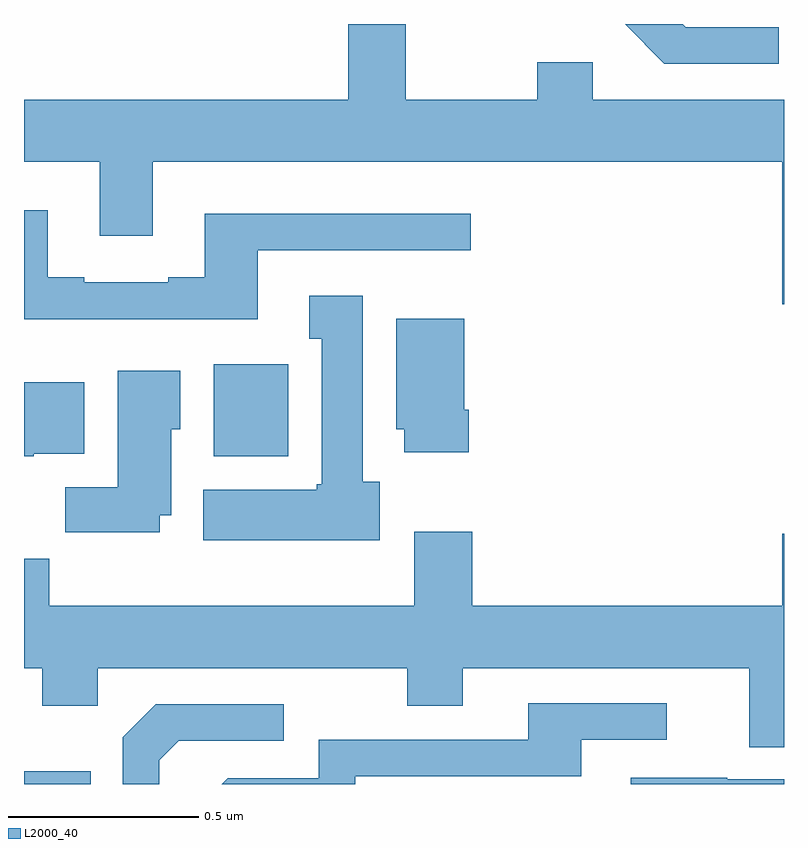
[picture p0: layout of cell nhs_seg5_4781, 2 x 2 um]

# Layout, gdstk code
import gdstk
lib = gdstk.Library(unit=1e-6, precision=1e-09)
def R(c, l, rs):  # rectangles x0, y0, x1, y1
    for r in rs: c.add(gdstk.rectangle(r[:2], r[2:], *l))
def P(c, l, *ps):  # polygons
    for p in ps: c.add(gdstk.Polygon(p, *l))
L2000_40 = (2000, 40)

nhs_seg5_4781 = lib.new_cell('nhs_seg5_4781')
R(nhs_seg5_4781, L2000_40, [(175,845.799,175.175,845.833), (175.499,846.662,175.696,846.904)])
P(nhs_seg5_4781, L2000_40, [(177,847.6),(176.497,847.6),(176.497,847.699),(176.35,847.699),(176.35,847.6),(176.005,847.6),(176.005,847.799),(175.853,847.799),(175.853,847.6),(175,847.6),(175,847.436),(175.199,847.436),(175.199,847.242),(175.339,847.242),(175.339,847.436),(176.996,847.436),(176.996,847.062),(177,847.062)],
  [(176.986,847.791),(176.742,847.791),(176.734,847.799),(176.582,847.799),(176.685,847.695),(176.986,847.695)],
  [(175.615,847.203),(176.176,847.203),(176.176,847.3),(175.475,847.3),(175.475,847.132),(175.379,847.132),(175.379,847.119),(175.159,847.119),(175.159,847.132),(175.063,847.132),(175.063,847.309),(175,847.309),(175,847.022),(175.615,847.022)],
  [(175.936,846.594),(175.891,846.594),(175.891,847.084),(175.751,847.084),(175.751,846.971),(175.784,846.971),(175.784,846.588),(175.771,846.588),(175.771,846.574),(175.472,846.574),(175.472,846.44),(175.936,846.44)],
  [(176.171,846.784),(176.158,846.784),(176.158,847.024),(175.979,847.024),(175.979,846.732),(176,846.732),(176,846.672),(176.171,846.672)],
  [(175.357,846.506),(175.387,846.506),(175.387,846.732),(175.411,846.732),(175.411,846.886),(175.247,846.886),(175.247,846.58),(175.108,846.58),(175.108,846.462),(175.357,846.462)],
  [(175.026,846.668),(175.159,846.668),(175.159,846.856),(175,846.856),(175,846.662),(175.026,846.662)],
  [(175,846.104),(175.048,846.104),(175.048,846.005),(175.194,846.005),(175.194,846.104),(176.008,846.104),(176.008,846.005),(176.155,846.005),(176.155,846.104),(176.909,846.104),(176.909,845.896),(177,845.896),(177,846.457),(176.996,846.457),(176.996,846.268),(176.18,846.268),(176.18,846.463),(176.027,846.463),(176.027,846.268),(175.067,846.268),(175.067,846.392),(175,846.392)],
  [(175.872,845.82),(176.467,845.82),(176.467,845.916),(176.692,845.916),(176.692,846.012),(176.327,846.012),(176.327,845.916),(175.776,845.916),(175.776,845.814),(175.536,845.814),(175.521,845.799),(175.872,845.799)],
  [(175.356,845.862),(175.407,845.913),(175.684,845.913),(175.684,846.009),(175.347,846.009),(175.26,845.922),(175.26,845.799),(175.356,845.799)],
  [(177,845.811),(176.851,845.811),(176.851,845.815),(176.597,845.815),(176.597,845.799),(177,845.799)])

lib.write_gds('nhs_seg5_4781.gds')
